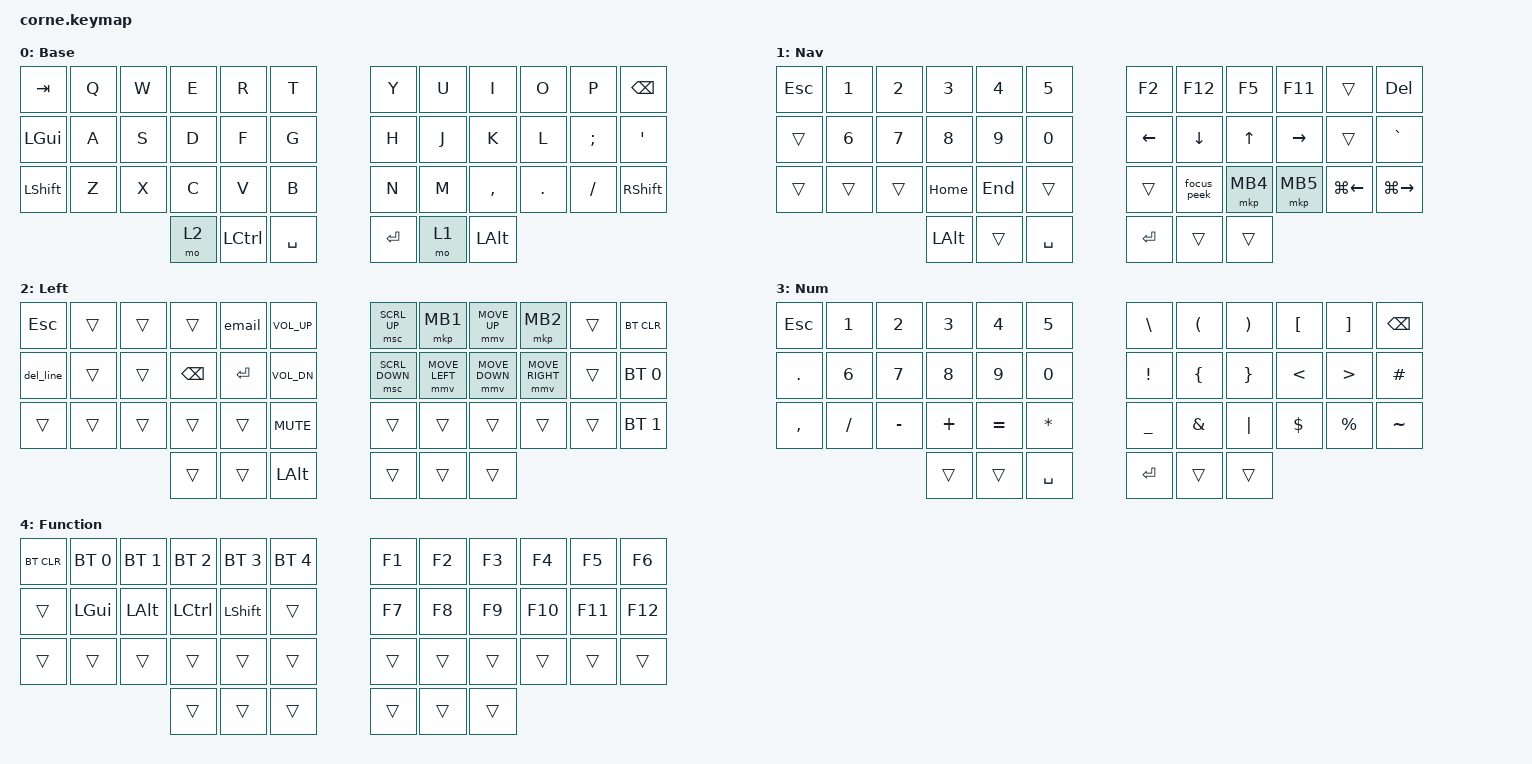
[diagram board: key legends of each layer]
/*
 * Copyright (c) 2020 The ZMK Contributors
 *
 * SPDX-License-Identifier: MIT
 */

#include <behaviors.dtsi>
#include <dt-bindings/zmk/bt.h>
#include <dt-bindings/zmk/keys.h>
#include <dt-bindings/zmk/pointing.h>

/ {
    behaviors {
        HMR: HMR {
            compatible = "zmk,behavior-hold-tap";
            label = "HMR";
            bindings = <&kp>, <&kp>;

            #binding-cells = <2>;
            flavor = "balanced";
            tapping-term-ms = <280>;
            quick-tap-ms = <175>;
            hold-trigger-on-release;
            hold-trigger-key-positions = <0 12 25 13 1 24 26 14 2 3 15 27 28 16 4 5 17 29 36 37 38 39 40 41 0 1 2 3 4 12 13 14 15 16 24 25 26 27 28 36 37>;
        };

        HML: HML {
            compatible = "zmk,behavior-hold-tap";
            label = "HML";
            bindings = <&kp>, <&kp>;

            #binding-cells = <2>;
            tapping-term-ms = <280>;
            quick-tap-ms = <175>;
            flavor = "balanced";
            hold-trigger-key-positions = <6 7 8 9 10 11 18 19 20 21 22 23 30 31 32 33 34 35 39 40 41 38 37 36>;
        };
    };

    combos {
        compatible = "zmk,combos";

        left_brace {
            bindings = <&kp LEFT_BRACE>;
            key-positions = <15 16>;
            layers = <0>;
            timeout-ms = <50>;
            require-prior-idle-ms = <150>;
        };

        right_brace {
            bindings = <&kp RIGHT_BRACE>;
            key-positions = <19 20>;
            layers = <0>;
            timeout-ms = <50>;
            require-prior-idle-ms = <150>;
        };

        left_bracket {
            bindings = <&kp LEFT_BRACKET>;
            key-positions = <27 28>;
            layers = <0>;
            timeout-ms = <50>;
            require-prior-idle-ms = <150>;
        };

        right_bracket {
            bindings = <&kp RIGHT_BRACKET>;
            key-positions = <31 32>;
            layers = <0>;
            timeout-ms = <50>;
            require-prior-idle-ms = <150>;
        };

        left_parenthesis {
            bindings = <&kp LEFT_PARENTHESIS>;
            key-positions = <3 4>;
            layers = <0>;
            timeout-ms = <50>;
            require-prior-idle-ms = <150>;
        };

        right_parenthesis {
            bindings = <&kp RIGHT_PARENTHESIS>;
            key-positions = <7 8>;
            layers = <0>;
            timeout-ms = <50>;
            require-prior-idle-ms = <150>;
        };

        less_than {
            bindings = <&kp LESS_THAN>;
            key-positions = <14 15>;
            layers = <0>;
            timeout-ms = <50>;
            require-prior-idle-ms = <150>;
        };

        greater_than {
            bindings = <&kp GREATER_THAN>;
            key-positions = <21 20>;
            layers = <0>;
            timeout-ms = <50>;
            require-prior-idle-ms = <150>;
        };

        equals {
            bindings = <&kp EQUAL>;
            key-positions = <16 17>;
            timeout-ms = <50>;
            require-prior-idle-ms = <150>;
            layers = <0 1>;
        };

        exclaimation {
            bindings = <&kp EXCLAMATION>;
            key-positions = <19 18>;
            timeout-ms = <50>;
            require-prior-idle-ms = <150>;
            layers = <0>;
        };

        at_sign {
            bindings = <&kp AT_SIGN>;
            key-positions = <2 14>;
            timeout-ms = <50>;
            require-prior-idle-ms = <150>;
            layers = <0>;
        };

        hash {
            bindings = <&kp HASH>;
            key-positions = <5 17>;
            timeout-ms = <50>;
            require-prior-idle-ms = <150>;
            layers = <0>;
        };

        dollar {
            bindings = <&kp DOLLAR>;
            key-positions = <29 17>;
            timeout-ms = <50>;
            require-prior-idle-ms = <150>;
            layers = <0>;
        };

        percent {
            bindings = <&kp PERCENT>;
            key-positions = <4 5>;
            timeout-ms = <50>;
            require-prior-idle-ms = <150>;
            layers = <0>;
        };

        caret {
            bindings = <&kp CARET>;
            key-positions = <28 16>;
            timeout-ms = <50>;
            require-prior-idle-ms = <150>;
            layers = <0>;
        };

        ampersand {
            bindings = <&kp AMPERSAND>;
            key-positions = <7 19>;
            timeout-ms = <50>;
            require-prior-idle-ms = <150>;
            layers = <0>;
        };

        astarisk {
            bindings = <&kp ASTERISK>;
            key-positions = <6 18>;
            timeout-ms = <50>;
            require-prior-idle-ms = <150>;
            layers = <0>;
        };

        minus {
            bindings = <&kp MINUS>;
            key-positions = <3 15>;
            timeout-ms = <50>;
            require-prior-idle-ms = <150>;
            layers = <0 1>;
        };

        plus {
            bindings = <&kp PLUS>;
            key-positions = <4 16>;
            timeout-ms = <50>;
            require-prior-idle-ms = <150>;
            layers = <0 1>;
        };

        pipe {
            bindings = <&kp PIPE>;
            key-positions = <8 20>;
            timeout-ms = <50>;
            require-prior-idle-ms = <150>;
            layers = <0>;
        };

        underscore {
            bindings = <&kp UNDER>;
            key-positions = <30 18>;
            timeout-ms = <50>;
            require-prior-idle-ms = <150>;
            layers = <0>;
        };

        backslash {
            bindings = <&kp BACKSLASH>;
            key-positions = <6 7>;
            timeout-ms = <50>;
            require-prior-idle-ms = <150>;
            layers = <0>;
        };

        tilde {
            bindings = <&kp TILDE>;
            key-positions = <31 19>;
            timeout-ms = <50>;
            require-prior-idle-ms = <150>;
            layers = <0>;
        };

        capsword {
            bindings = <&caps_word>;
            key-positions = <24 35>;
        };
    };

    macros {
        email: email {
            compatible = "zmk,behavior-macro";
            #binding-cells = <0>;
            bindings = <&kp R &kp O &kp G &kp I &kp E &kp R &kp DOT &kp G &kp R &kp O &kp B &kp B &kp E &kp E &kp AT &kp S &kp H &kp E &kp R &kp P &kp A &kp A &kp N &kp DOT &kp N &kp L>;
            label = "EMAIL";
        };

        del_line: del_line {
            compatible = "zmk,behavior-macro";
            #binding-cells = <0>;
            bindings = <&kp END &kp LS(HOME) &kp DEL>;
            label = "DEL_LINE";
        };

        focus_peek: focus_peek {
            compatible = "zmk,behavior-macro";
            #binding-cells = <0>;
            bindings = <&kp LC(K) &kp F2>;
            label = "FOCUS_PEEK";
        };
    };

    keymap {
        compatible = "zmk,keymap";

        default_layer {
            // -----------------------------------------------------------------------------------------
            // |  TAB |  Q  |  W  |  E  |  R  |  T  |   |  Y  |  U   |  I  |  O  |  P  | BKSP |
            // | CTRL |  A  |  S  |  D  |  F  |  G  |   |  H  |  J   |  K  |  L  |  ;  |  '   |
            // | SHFT |  Z  |  X  |  C  |  V  |  B  |   |  N  |  M   |  ,  |  .  |  /  | ESC  |
            //                    | GUI | LWR | SPC |   | ENT | RSE  | ALT |

            display-name = "Base";
            bindings = <
&kp TAB         &kp Q  &kp W  &kp E  &kp R             &kp T        &kp Y    &kp U  &kp I         &kp O    &kp P          &kp BSPC
&kp LEFT_GUI    &kp A  &kp S  &kp D  &kp F             &kp G        &kp H    &kp J  &kp K         &kp L    &kp SEMICOLON  &kp SQT
&kp LEFT_SHIFT  &kp Z  &kp X  &kp C  &kp V             &kp B        &kp N    &kp M  &kp COMMA     &kp DOT  &kp FSLH       &kp RIGHT_SHIFT
                              &mo 2  &kp LEFT_CONTROL  &kp SPACE    &kp RET  &mo 1  &kp LEFT_ALT
            >;
        };

        lower_layer {
            // -----------------------------------------------------------------------------------------
            // |  TAB |  1  |  2  |  3  |  4  |  5  |   |  6  |  7  |  8  |  9  |  0  | BKSP |
            // | BTCLR| BT1 | BT2 | BT3 | BT4 | BT5 |   | LFT | DWN |  UP | RGT |     |      |
            // | SHFT |     |     |     |     |     |   |     |     |     |     |     |      |
            //                    | GUI |     | SPC |   | ENT |     | ALT |

            display-name = "Nav";
            bindings = <
&kp ESCAPE  &kp NUMBER_1  &kp NUMBER_2  &kp NUMBER_3  &kp NUMBER_4  &kp N5       &kp F2    &kp F12      &kp F5    &kp F11    &trans              &kp DELETE
&trans      &kp NUMBER_6  &kp N7        &kp N8        &kp N9        &kp N0       &kp LEFT  &kp DOWN     &kp UP    &kp RIGHT  &trans              &kp GRAVE
&trans      &trans        &trans        &kp HOME      &kp END       &trans       &trans    &focus_peek  &mkp MB4  &mkp MB5   &kp LG(LEFT_ARROW)  &kp LG(RIGHT_ARROW)
                                        &kp LEFT_ALT  &trans        &kp SPACE    &kp RET   &trans       &trans
            >;
        };

        Extra {
            bindings = <
&kp ESCAPE  &trans  &trans  &trans         &email   &kp C_VOLUME_UP    &msc SCRL_UP    &mkp MB1        &mmv MOVE_UP    &mkp MB2         &trans  &bt BT_CLR
&del_line   &trans  &trans  &kp BACKSPACE  &kp RET  &kp C_VOL_DN       &msc SCRL_DOWN  &mmv MOVE_LEFT  &mmv MOVE_DOWN  &mmv MOVE_RIGHT  &trans  &bt BT_SEL 0
&trans      &trans  &trans  &trans         &trans   &kp K_MUTE         &trans          &trans          &trans          &trans           &trans  &bt BT_SEL 1
                            &trans         &trans   &kp LEFT_ALT       &trans          &trans          &trans
            >;

            label = "Left";
        };

        raise_layer {
            // -----------------------------------------------------------------------------------------
            // |  TAB |  !  |  @  |  #  |  $  |  %  |   |  ^  |  &  |  *  |  (  |  )  | BKSP |
            // | CTRL |     |     |     |     |     |   |  -  |  =  |  [  |  ]  |  \  |  `   |
            // | SHFT |     |     |     |     |     |   |  _  |  +  |  {  |  }  | "|" |  ~   |
            //                    | GUI |     | SPC |   | ENT |     | ALT |

            display-name = "Num";
            bindings = <
&kp ESC     &kp NUMBER_1  &kp NUMBER_2  &kp NUMBER_3  &kp NUMBER_4  &kp N5          &kp BACKSLASH    &kp LEFT_PARENTHESIS  &kp RIGHT_PARENTHESIS  &kp LEFT_BRACKET  &kp RIGHT_BRACKET  &kp BACKSPACE
&kp PERIOD  &kp NUMBER_6  &kp N7        &kp N8        &kp N9        &kp N0          &kp EXCLAMATION  &kp LEFT_BRACE        &kp RIGHT_BRACE        &kp LESS_THAN     &kp GREATER_THAN   &kp HASH
&kp COMMA   &kp SLASH     &kp MINUS     &kp PLUS      &kp EQUAL     &kp ASTERISK    &kp UNDERSCORE   &kp AMPERSAND         &kp PIPE               &kp DOLLAR        &kp PERCENT        &kp TILDE
                                        &trans        &trans        &kp SPACE       &kp RET          &trans                &trans
            >;
        };

        Function {
            bindings = <
&bt BT_CLR  &bt BT_SEL 0  &bt BT_SEL 1  &bt BT_SEL 2      &bt BT_SEL 3    &bt BT_SEL 4    &kp F1  &kp F2  &kp F3  &kp F4   &kp F5   &kp F6
&trans      &kp LEFT_GUI  &kp LEFT_ALT  &kp LEFT_CONTROL  &kp LEFT_SHIFT  &trans          &kp F7  &kp F8  &kp F9  &kp F10  &kp F11  &kp F12
&trans      &trans        &trans        &trans            &trans          &trans          &trans  &trans  &trans  &trans   &trans   &trans
                                        &trans            &trans          &trans          &trans  &trans  &trans
            >;
        };

        extra_1 { status = "reserved"; };

        extra_2 { status = "reserved"; };

        extra_3 { status = "reserved"; };
    };
};
